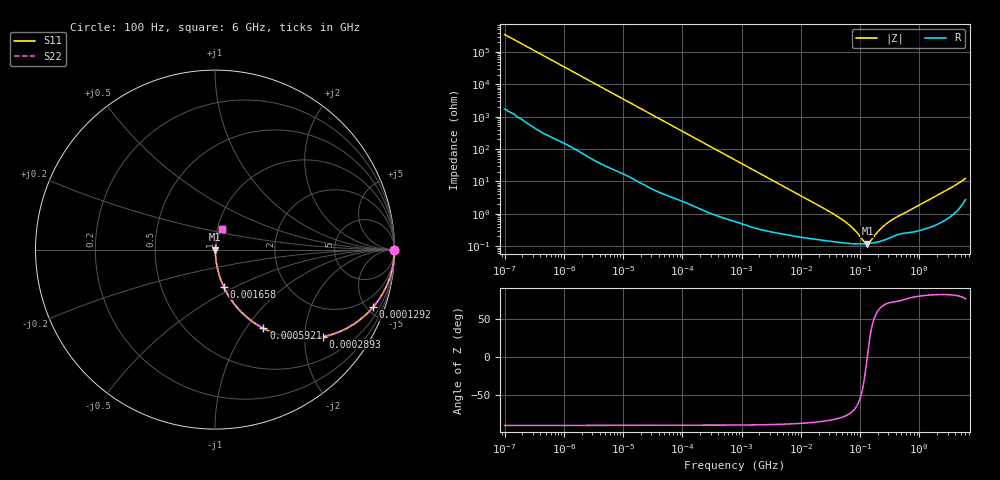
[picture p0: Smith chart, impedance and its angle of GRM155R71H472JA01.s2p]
!Murata Part Number: GRM155R71H472JA01
!These Parameters are Measured in Series Mode Connection
!Data Generated on Mar 30, 2021
!  o--ll--o
!Port1  Port2
!  o------o
!Operation Temp=25[degC], DC Bias Voltage=0[V]
!Freq. Start=100[Hz] Stop=6[GHz] 401[Steps]
# Hz S RI R 50
!Freq.(Hz) S11(Real) S11(Imag) S21(Real) S21(Imag) S12(Real) S12(Imag) S22(Real) S22(Imag)
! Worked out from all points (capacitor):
!   401 points, 100 Hz to 6 GHz, reference 50 ohm
!   read as one part in series: C = 4.56 nF near 109 Hz
!   lowest |Z| = 121 mohm at 133.4 MHz (marker M1)
!   series resonance near 132 MHz, so ESL is about 320 pH
!   S11 on the Smith chart (normalised r, x): 100 Hz: open; 129.2 kHz: 1.04, -5.50; 289.3 kHz: 1.02, -2.47; 592.1 kHz: 1.01, -1.21; 1.658 MHz: 1.01, -0.43; 6 GHz: 1.05, +0.24
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100  1 -0.000287  1.5e-06 0.000287  1.5e-06 0.000287  1 -0.000287
2008  0.9999 -0.00572  5.73e-05 0.00572  5.73e-05 0.00572  0.9999 -0.00572
12592  0.9986 -0.0356  0.00145 0.0356  0.00145 0.0356  0.9986 -0.0356
40335  0.9866 -0.1123  0.0134 0.1123  0.0134 0.1123  0.9866 -0.1123
129199  0.8816 -0.3195  0.1184 0.3195  0.1184 0.3195  0.8816 -0.3195
193316  0.7707 -0.4165  0.2293 0.4165  0.2293 0.4165  0.7707 -0.4165
289253  0.6026 -0.4851  0.3974 0.4851  0.3974 0.4851  0.6026 -0.4851
413847  0.4278 -0.49  0.5722 0.49  0.5722 0.49  0.4278 -0.49
592111  0.27 -0.4384  0.73 0.4384  0.73 0.4384  0.27 -0.4384
774597  0.1795 -0.3776  0.8205 0.3776  0.8205 0.3776  0.1795 -0.3776
1658239  0.0482 -0.206  0.9518 0.206  0.9518 0.206  0.0482 -0.206
4246196  0.00967 -0.0843  0.9903 0.0843  0.9903 0.0843  0.00967 -0.0843
1.555665e7  0.00222 -0.0233  0.9978 0.0233  0.9978 0.0233  0.00222 -0.0233
5.699437e7  0.00127 -0.00542  0.9987 0.00542  0.9987 0.00542  0.00127 -0.00542
8.154455e7  0.00119 -0.0029  0.9988 0.0029  0.9988 0.0029  0.00119 -0.0029
1.166697e8  0.00118 -0.000716  0.9988 0.000716  0.9988 0.000716  0.00118 -0.000716
1.334425e8  0.0012 6.61e-05  0.9988 -6.61e-05  0.9988 -6.61e-05  0.0012 6.61e-05
1.459435e8  0.00122 0.000586  0.9988 -0.000586  0.9988 -0.000586  0.00122 0.000586
2.283698e8  0.00145 0.00331  0.9985 -0.00331  0.9985 -0.00331  0.00145 0.00331
3.124326e8  0.00181 0.00545  0.9982 -0.00545  0.9982 -0.00545  0.00181 0.00545
1.95892e9  0.00587 0.0356  0.9941 -0.0356  0.9941 -0.0356  0.00587 0.0356
6e9  0.0399 0.1126  0.9601 -0.1126  0.9601 -0.1126  0.0399 0.1126
